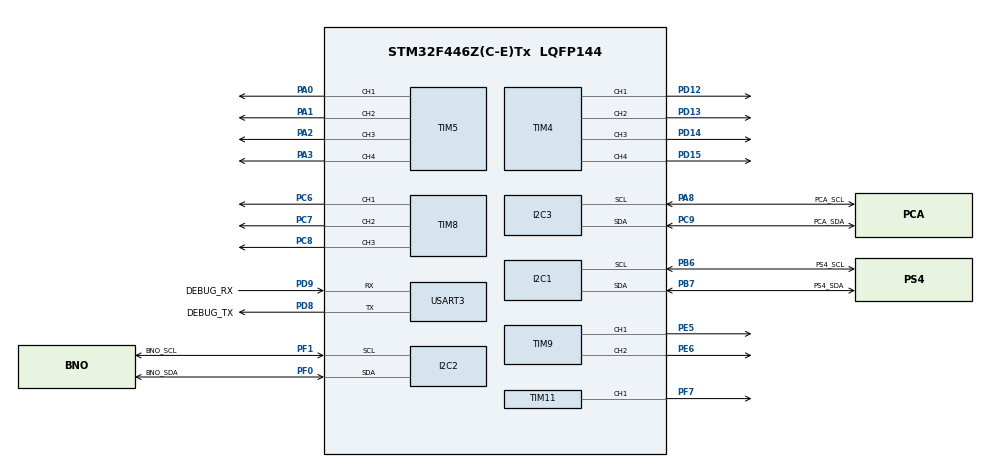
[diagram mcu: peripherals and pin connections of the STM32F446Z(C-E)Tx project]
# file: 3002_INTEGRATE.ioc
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Mcu.Family=STM32F4
Mcu.Name=STM32F446Z(C-E)Tx
Mcu.Package=LQFP144
NVIC.PriorityGroup=NVIC_PRIORITYGROUP_4
PA0-WKUP.Signal=S_TIM5_CH1
PA1.Signal=S_TIM5_CH2
PA2.Signal=S_TIM5_CH3
PA3.Signal=S_TIM5_CH4
PA8.GPIO_Label=PCA_SCL
PA8.Mode=I2C
PA8.Signal=I2C3_SCL
PB6.GPIO_Label=PS4_SCL
PB6.Mode=I2C
PB6.Signal=I2C1_SCL
PB7.GPIO_Label=PS4_SDA
PB7.Mode=I2C
PB7.Signal=I2C1_SDA
PC6.Signal=S_TIM8_CH1
PC7.Signal=S_TIM8_CH2
PC8.Signal=S_TIM8_CH3
PC9.GPIO_Label=PCA_SDA
PC9.Mode=I2C
PC9.Signal=I2C3_SDA
PD12.Signal=S_TIM4_CH1
PD13.Signal=S_TIM4_CH2
PD14.Signal=S_TIM4_CH3
PD15.Signal=S_TIM4_CH4
PD8.GPIO_Label=DEBUG_TX
PD8.Mode=Asynchronous
PD8.Signal=USART3_TX
PD9.GPIO_Label=DEBUG_RX
PD9.Mode=Asynchronous
PD9.Signal=USART3_RX
PE5.Signal=S_TIM9_CH1
PE6.Signal=S_TIM9_CH2
PF0.GPIO_Label=BNO_SDA
PF0.Mode=I2C
PF0.Signal=I2C2_SDA
PF1.GPIO_Label=BNO_SCL
PF1.Mode=I2C
PF1.Signal=I2C2_SCL
PF7.Signal=S_TIM11_CH1
ProjectManager.HeapSize=0x200
ProjectManager.StackSize=0x400
ProjectManager.TargetToolchain=STM32CubeIDE
RCC.48MHZClocksFreq_Value=24000000
RCC.AHBFreq_Value=16000000
RCC.APB1CLKDivider=RCC_HCLK_DIV2
RCC.APB1Freq_Value=8000000
RCC.APB1TimFreq_Value=16000000
RCC.APB2Freq_Value=16000000
RCC.APB2TimFreq_Value=16000000
RCC.CortexFreq_Value=16000000
RCC.HCLKFreq_Value=16000000
RCC.HSE_VALUE=8000000
RCC.HSI_VALUE=16000000
RCC.LSE_VALUE=32768
RCC.PLLMUL=RCC_PLL_MUL9
RCC.PRESCALERUSB=RCC_USBCLKSOURCE_PLL_DIV1_5
RCC.SYSCLKFreq_VALUE=16000000
RCC.SYSCLKSourceVirtual=RCC_SYSCLKSOURCE_PLLCLK
RCC.USBFreq_Value=96000000
RCC.VCOOutputFreq_Value=192000000
SH.S_TIM11_CH1.0=TIM11_CH1,PWM Generation1 CH1
SH.S_TIM4_CH1.0=TIM4_CH1,PWM Generation1 CH1
SH.S_TIM4_CH2.0=TIM4_CH2,PWM Generation2 CH2
SH.S_TIM4_CH3.0=TIM4_CH3,PWM Generation3 CH3
SH.S_TIM4_CH4.0=TIM4_CH4,PWM Generation4 CH4
SH.S_TIM5_CH1.0=TIM5_CH1,PWM Generation1 CH1
SH.S_TIM5_CH2.0=TIM5_CH2,PWM Generation2 CH2
SH.S_TIM5_CH3.0=TIM5_CH3,PWM Generation3 CH3
SH.S_TIM5_CH4.0=TIM5_CH4,PWM Generation4 CH4
SH.S_TIM8_CH1.0=TIM8_CH1,PWM Generation1 CH1
SH.S_TIM8_CH2.0=TIM8_CH2,PWM Generation2 CH2
SH.S_TIM8_CH3.0=TIM8_CH3,PWM Generation3 CH3
SH.S_TIM9_CH1.0=TIM9_CH1,PWM Generation1 CH1
SH.S_TIM9_CH2.0=TIM9_CH2,PWM Generation2 CH2
TIM11.Channel=TIM_CHANNEL_1
TIM4.Channel-PWM\ Generation1\ CH1=TIM_CHANNEL_1
TIM4.Channel-PWM\ Generation2\ CH2=TIM_CHANNEL_2
TIM4.Channel-PWM\ Generation3\ CH3=TIM_CHANNEL_3
TIM4.Channel-PWM\ Generation4\ CH4=TIM_CHANNEL_4
TIM5.Channel-PWM\ Generation1\ CH1=TIM_CHANNEL_1
TIM5.Channel-PWM\ Generation2\ CH2=TIM_CHANNEL_2
TIM5.Channel-PWM\ Generation3\ CH3=TIM_CHANNEL_3
TIM5.Channel-PWM\ Generation4\ CH4=TIM_CHANNEL_4
TIM8.Channel-PWM\ Generation1\ CH1=TIM_CHANNEL_1
TIM8.Channel-PWM\ Generation2\ CH2=TIM_CHANNEL_2
TIM8.Channel-PWM\ Generation3\ CH3=TIM_CHANNEL_3
TIM9.Channel-PWM\ Generation1\ CH1=TIM_CHANNEL_1
TIM9.Channel-PWM\ Generation2\ CH2=TIM_CHANNEL_2
USART3.VirtualMode=VM_ASYNC
VP_TIM11_VS_ClockSourceINT.Mode=Enable_Timer
VP_TIM4_VS_ClockSourceINT.Mode=Internal
VP_TIM5_VS_ClockSourceINT.Mode=Internal
VP_TIM8_VS_ClockSourceINT.Mode=Internal
VP_TIM9_VS_ClockSourceINT.Mode=Internal
board=NUCLEO-F446ZE

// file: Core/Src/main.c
	/* USER CODE BEGIN Header */
	/**
	  ******************************************************************************
	  * @file           : main.c
	  * @brief          : Main program body
	  ******************************************************************************
	  * @attention
	  *
	  * CopyRight (c) 2026 STMicroelectronics.
	  * All Rights reserved.
	  *
	  * This software is licensed under terms that can be found in the LICENSE file
	  * in the root directory of this software component.
	  * If no LICENSE file comes with this software, it is provided AS-IS.
	  *
	  ******************************************************************************
	  */
	/* USER CODE END Header */
	/* Includes ------------------------------------------------------------------*/
	#include "main.h"

	/* Private includes ----------------------------------------------------------*/
	/* USER CODE BEGIN Includes */
	#include<stdbool.h>
	#include<string.h>
	#include<stdio.h>
	#include<stdlib.h>

	#include "EncoderLib.h"
	#include "PCA9685.h"
	#include "BTS7960.h"
	#include "Cytron.h"

	/* USER CODE END Includes */

	/* Private typedef -----------------------------------------------------------*/

	/* Private define ------------------------------------------------------------*/
	/* USER CODE BEGIN PD */
	#define PCA_FREQ 	50

	/* USER CODE END PD */

	/* Private macro -------------------------------------------------------------*/
	/* USER CODE BEGIN PM */
	#define DATA_SIZE 7
	#define SLAVE_ADDR 8

	#define DEADZONE  20

	/* USER CODE END PM */

	/* Private variables ---------------------------------------------------------*/
	I2C_HandleTypeDef hi2c1;
	I2C_HandleTypeDef hi2c2;
	I2C_HandleTypeDef hi2c3;

	TIM_HandleTypeDef htim4;
	TIM_HandleTypeDef htim5;
	TIM_HandleTypeDef htim8;
	TIM_HandleTypeDef htim9;
	TIM_HandleTypeDef htim11;

	UART_HandleTypeDef huart3;

	/* USER CODE BEGIN PV */
	int8_t DATA[DATA_SIZE];
	char MSG[300];

	typedef struct{
		int LX;
		int LY;
		int RX;
		int RY;
		int Omega;

		bool Right;
		bool Down;
		bool Up;
		bool Left;
		bool Square;
		bool Cross;
		bool Circle;
		bool Triangle;

		bool PS;
		bool Touchpad;
		bool Options;
		bool Share;
		bool R3;
		bool L3;
		bool R1;
		bool L1;

	}PS4Data;
	PS4Data PS4 = { 0 };

	typedef struct{
		bool prevState;
		bool flag;
	}ToggleButton;

	ToggleButton KFSPlaceServo;
	ToggleButton KFSGripServo;

	ToggleButton StaffAttackServo;
	ToggleButton StaffGripServo;

	PCA_t PCA;

	typedef struct{
		TIM_HandleTypeDef *htim1;
		uint32_t LPWM;
		uint8_t bus1;

		TIM_HandleTypeDef *htim2;
		uint32_t RPWM;
		uint8_t bus2;

		uint16_t freq;
		uint8_t  maxPWM;

	} BTSMotor_t;

	typedef struct {
		TIM_HandleTypeDef *timer;
		GPIO_TypeDef *dirGPIO;

		uint32_t channel;
		uint16_t dirPIN;
		uint8_t direction;
		uint8_t  maxPWM;

	} CytronMotor_t;

	typedef struct {
		uint8_t PCA_Ch;
		uint8_t GripAngle;
		uint8_t ReleaseAngle;
	} GripServo_t;

	typedef struct {
		uint8_t PCA_Ch;
		uint8_t NormalAngle;
		uint8_t AttackAngle;
	} AttackServo_t;

	// ============================== KFS PLACING ==============================
	BTSMotor_t KFS_Place;
	AttackServo_t KFS_Flap;

	BTSMotor_t KFS_Place= {
		.htim1 		= &htim5,
		.LPWM 	= TIM_CHANNEL_2,
		.bus1 		= 2,

		.htim2 		= &htim5,
		.RPWM 	= TIM_CHANNEL_3,
		.bus2 		= 2,

		.freq = 1000
	};

	AttackServo_t KFS_Flap = {
		.PCA_Ch 		= 12,
		.NormalAngle 	= 0,
		.AttackAngle 	= 180
	};

	// ============================== KFS PICKING ==============================
	CytronMotor_t KFS_Belt;
	CytronMotor_t KFS_Turret;
	GripServo_t KFS_Grip[2];

	CytronMotor_t KFS_Belt = {
			.timer 		= &htim9,
			.dirGPIO	= GPIOB,
			.channel 	= TIM_CHANNEL_2,
			.dirPIN 	= GPIO_PIN_15,
			.direction  = 0,
			.maxPWM 	= 60
	};

	CytronMotor_t KFS_Turret = {
			.timer 		= &htim11,
			.dirGPIO	= GPIOA,
			.channel 	= TIM_CHANNEL_1,
			.dirPIN 	= GPIO_PIN_2,
			.direction  = 0,
			.maxPWM 	= 60
	};

	GripServo_t KFS_Grip[2] = {
		{.PCA_Ch = 8, .GripAngle = 60, .ReleaseAngle = 160},
		{.PCA_Ch = 9, .GripAngle = 160, .ReleaseAngle = 60}
	};

	// ============================== STAFF PICKING ==============================
	CytronMotor_t STAFF_Motor;
	GripServo_t STAFF_Grip[4];
	AttackServo_t STAFF_Attack[4];

	CytronMotor_t STAFF_Motor = {
			.timer 		= &htim8,
			.dirGPIO	= GPIOA,
			.channel 	= TIM_CHANNEL_3,
			.dirPIN 	= GPIO_PIN_3,
			.direction  = 0,
			.maxPWM 	= 40

	};

	GripServo_t STAFF_Grip[4] = {
		{ .PCA_Ch = 0, .GripAngle = 180, .ReleaseAngle = 0 },
		{ .PCA_Ch = 1, .GripAngle = 110, .ReleaseAngle = 50 },
		{ .PCA_Ch = 3, .GripAngle = 180, .ReleaseAngle = 0 },
		{ .PCA_Ch = 4, .GripAngle = 180, .ReleaseAngle = 0 }
	};

	AttackServo_t STAFF_Attack[4] = {
		{ .PCA_Ch = 4, .NormalAngle = 0,   .AttackAngle = 45 },
		{ .PCA_Ch = 5, .NormalAngle = 110, .AttackAngle = 63 },
		{ .PCA_Ch = 6, .NormalAngle = 15,  .AttackAngle = 58 },
		{ .PCA_Ch = 7, .NormalAngle = 67,  .AttackAngle = 110 }
	};

	/* USER CODE END PV */

	/* Private function prototypes -----------------------------------------------*/
	void SystemClock_Config(void);
	static void MX_GPIO_Init(void);
	static void MX_I2C1_Init(void);
	static void MX_USART3_UART_Init(void);
	static void MX_I2C2_Init(void);
	static void MX_I2C3_Init(void);
	static void MX_TIM4_Init(void);
	static void MX_TIM5_Init(void);
	static void MX_TIM8_Init(void);
	static void MX_TIM9_Init(void);
	static void MX_TIM11_Init(void);
	/* USER CODE BEGIN PFP */
	// ============================== UTILITY ==============================
	void getValue();

	/* USER CODE END PFP */

	/* Private user code ---------------------------------------------------------*/
	/* USER CODE BEGIN 0 */
	void getValue(){
		if (HAL_OK == HAL_I2C_Master_Receive(&hi2c1, SLAVE_ADDR << 1, (uint8_t*)DATA, DATA_SIZE, HAL_MAX_DELAY)){
			PS4.Up       = (DATA[0] & (1 << 0)) ? 1 : 0;
			PS4.Right    = (DATA[0] & (1 << 1)) ? 1 : 0;
			PS4.Down     = (DATA[0] & (1 << 2)) ? 1 : 0;
			PS4.Left     = (DATA[0] & (1 << 3)) ? 1 : 0;
			PS4.Triangle = (DATA[0] & (1 << 4)) ? 1 : 0;
			PS4.Circle   = (DATA[0] & (1 << 5)) ? 1 : 0;
			PS4.Cross    = (DATA[0] & (1 << 6)) ? 1 : 0;
			PS4.Square   = (DATA[0] & (1 << 7)) ? 1 : 0;

			PS4.L1       = (DATA[1] & (1 << 0)) ? 1 : 0;
			PS4.R1       = (DATA[1] & (1 << 1)) ? 1 : 0;
			PS4.L3       = (DATA[1] & (1 << 2)) ? 1 : 0;
			PS4.R3       = (DATA[1] & (1 << 3)) ? 1 : 0;
			PS4.Share    = (DATA[1] & (1 << 4)) ? 1 : 0;
			PS4.Options  = (DATA[1] & (1 << 5)) ? 1 : 0;
			PS4.Touchpad = (DATA[1] & (1 << 6)) ? 1 : 0;
			PS4.PS       = (DATA[1] & (1 << 7)) ? 1 : 0;

			PS4.Omega = DATA[6];
			PS4.RY    = DATA[5];
			PS4.RX    = DATA[4];
			PS4.LX    = DATA[2];
			PS4.LY    = DATA[3];

			if (abs(PS4.LX) < DEADZONE) PS4.LX = 0;
			if (abs(PS4.LY) < DEADZONE) PS4.LY = 0;
			if (abs(PS4.Omega) < DEADZONE) PS4.Omega = 0;

			/* -------- DEBUG PRINT -------- */
			sprintf(MSG,
					" SQ%d X %d  O %d  TRI %d  LEFT %d  DOWN %d  RIGHT %d  UP %d  PS %d  TOUCH %d  OPT %d  SHARE %d  R3 %d  L3 %d  R1 %d  L1 %d LX %d  LY %d  RX %d  RY %d  OMEGA%d \r\n",
					PS4.Square, PS4.Cross, PS4.Circle, PS4.Triangle,
					PS4.Left, PS4.Down, PS4.Right, PS4.Up,
					PS4.PS, PS4.Touchpad, PS4.Options, PS4.Share,
					PS4.R3, PS4.L3, PS4.R1, PS4.L1,
					PS4.LX, PS4.LY, PS4.RX, PS4.RY, PS4.Omega);

			HAL_UART_Transmit(&huart3, (uint8_t*)MSG, strlen(MSG), HAL_MAX_DELAY);
		}
	}

	void InitMechanisms(){
		InitBTS(KFS_Place, KFS_Place.htim1, KFS_Place.LPWM, KFS_Place.bus1, KFS_Place.htim2, KFS_Place.RPWM, KFS_Place.bus2, KFS_Place.freq);

		InitCytron(STAFF_Motor, STAFF_Motor.timer, STAFF_Motor.channel, STAFF_Motor.dirGPIO, STAFF_Motor.dirPIN, STAFF_Motor.direction);
		InitCytron(KFS_Turret, KFS_Turret.timer, KFS_Turret.channel, KFS_Turret.dirGPIO, KFS_Turret.dirPIN, KFS_Turret.direction);
		InitCytron(KFS_Belt, KFS_Belt.timer, KFS_Belt.channel, KFS_Belt.dirGPIO, KFS_Belt.dirPIN, KFS_Belt.direction);

		InitPCA(&PCA, &hi2c2, PCA_FREQ);
	}

	//============================== KFS PLACING ==============================
	void KFS_Place_Motor(){
		if(PS4.L1){
			RotateMotor(KFS_Place,  KFS_Place.maxPWM);
		}
		else if(PS4.R1){
			RotateMotor(KFS_Place, -KFS_Place.maxPWM);
		}
		else{
			StopMotor(KFS_Place);
		}
	}

	void KFS_Place_Servo(){
		if(PS4.Cross && !KFSPlaceServo.prevState){
			KFSPlaceServo.prevState = true;
			KFSPlaceServo.flag = !KFSPlaceServo.flag;

			if(KFSPlaceServo.flag){
				RotateServo(&PCA, KFS_Flap.PCA_Ch, KFS_Flap.NormalAngle);
			}
			else{
				RotateServo(&PCA, KFS_Flap.PCA_Ch, KFS_Flap.AttackAngle);
			}
		}
		else if(!PS4.Cross){
			KFSPlaceServo.prevState = false;
		}

	}

	void KFS_Place_Motion(){
		KFS_Place_Motor();
		KFS_Place_Servo();
	}

	//============================== KFS PICKING ==============================
	void KFS_Pick_Motor(){
		// BELT-MOTOR
		if(PS4.Up){
			RotateCytron(KFS_Belt,  KFS_Belt.maxPWM);
		}
		else if(PS4.Down){
			RotateCytron(KFS_Belt, -KFS_Belt.maxPWM);
		}
		else{
			StopCytron(KFS_Belt);
		}

		// TURRET_MOTOR
		if(PS4.Up){
			RotateCytron(KFS_Turret,  KFS_Turret.maxPWM);
		}
		else if(PS4.Down){
			RotateCytron(KFS_Turret, -KFS_Turret.maxPWM);
		}
		else{
			StopCytron(KFS_Turret);
		}

	}

	void KFS_Pick_Servo(){
		if(PS4.Circle && !KFSGripServo.prevState){
			KFSGripServo.prevState = true;
			KFSGripServo.flag 		= !KFSGripServo.flag;

				if(KFSGripServo.flag){
					RotateServo(&PCA, KFS_Grip[1].PCA_Ch, KFS_Grip[1].GripAngle);
					RotateServo(&PCA, KFS_Grip[2].PCA_Ch, KFS_Grip[2].GripAngle);
				}
				else{
					RotateServo(&PCA, KFS_Grip[1].PCA_Ch, KFS_Grip[1].ReleaseAngle);
					RotateServo(&PCA, KFS_Grip[2].PCA_Ch, KFS_Grip[2].ReleaseAngle);
				}
			}
			else if (!PS4.Circle){
				KFSGripServo.prevState = false;
			}
	}

	void KFS_Pick_Motion(){
		KFS_Pick_Motor();
		KFS_Pick_Servo();
	}

	//============================== KFS PICKING ==============================
	void STAFF_Motor(){
		if(PS4.RY){
			int16_t beltSpeed = (int16_t)constrain(PS4.RY, -MAX_STAFF_PWM, MAX_STAFF_PWM);
			RotateCytron(&STAFF_MOTOR, beltSpeed);
		}
		else{
			StopCytron(STAFF_Motor);
		}
	}

	void STAFF_Servo(){
		// GRIP SERVO
		if(PS4.Square && !StaffGripServo.prevState){
			StaffGripServo.prevState = true;
			StaffGripServo.flag 		= !StaffGripServo.flag;

			if(StaffGripServo.flag){
				RotateServo(&PCA, STAFF_Grip[1].PCA_Ch, STAFF_Grip[1].GripAngle);
				RotateServo(&PCA, STAFF_Grip[2].PCA_Ch, STAFF_Grip[2].GripAngle);
				RotateServo(&PCA, STAFF_Grip[3].PCA_Ch, STAFF_Grip[3].GripAngle);
				RotateServo(&PCA, STAFF_Grip[4].PCA_Ch, STAFF_Grip[4].GripAngle);
			}
			else{
				RotateServo(&PCA, STAFF_Grip[1].PCA_Ch, STAFF_Grip[1].ReleaseAngle);
				RotateServo(&PCA, STAFF_Grip[2].PCA_Ch, STAFF_Grip[2].ReleaseAngle);
				RotateServo(&PCA, STAFF_Grip[3].PCA_Ch, STAFF_Grip[3].ReleaseAngle);
				RotateServo(&PCA, STAFF_Grip[4].PCA_Ch, STAFF_Grip[4].ReleaseAngle);
			}
		}
		else if (!PS4.Square){
			StaffGripServo.prevState = false;
		}

		// ATTACK SERVO
		if(PS4.Triangle && !AttackServo.prevState){
			AttackServo.prevState = true;
			AttackServo.flag 	  = !AttackServo.flag;

			if(AttackServo.flag){
				RotateServo(&PCA, STAFF_Attack[1].PCA_Ch, STAFF_Attack[1].NormalAngle);
				RotateServo(&PCA, STAFF_Attack[2].PCA_Ch, STAFF_Attack[2].NormalAngle);
				RotateServo(&PCA, STAFF_Attack[3].PCA_Ch, STAFF_Attack[3].NormalAngle);
				RotateServo(&PCA, STAFF_Attack[4].PCA_Ch, STAFF_Attack[4].NormalAngle);
			}
			else{
			}
		}
		else if(!PS4.Triangle){
			RotateServo(&PCA, STAFF_Attack[1].PCA_Ch, STAFF_Attack[1].AttackAngle);
			RotateServo(&PCA, STAFF_Attack[2].PCA_Ch, STAFF_Attack[2].AttackAngle);
			RotateServo(&PCA, STAFF_Attack[3].PCA_Ch, STAFF_Attack[3].AttackAngle);
			RotateServo(&PCA, STAFF_Attack[4].PCA_Ch, STAFF_Attack[4].AttackAngle);
		}
	}

	void STAFF_Motion(){
		STAFF_Motion();
		STAFF_Servo();
	}

	/* USER CODE END 0 */

	/**
	  * @brief  The application entry point.
	  * @retval int
	  */
	int main(void)
	{

	  /* MCU Configuration--------------------------------------------------------*/

	  /* Reset of all peripherals, Initializes the Flash interface and the Systick. */
	  HAL_Init();

	  /* Configure the system clock */
	  SystemClock_Config();

	  /* Initialize all configured peripherals */
	  MX_GPIO_Init();
	  MX_I2C1_Init();
	  MX_USART3_UART_Init();
	  MX_I2C2_Init();
	  MX_I2C3_Init();
	  MX_TIM4_Init();
	  MX_TIM5_Init();
	  MX_TIM8_Init();
	  MX_TIM9_Init();
	  MX_TIM11_Init();
	  /* USER CODE BEGIN 2 */

	  InitMechanisms();

	  /* USER CODE END 2 */

	  /* Infinite loop */
	  while (1)
	  {

		/* USER CODE BEGIN 3 */

		  getValue();
		  KFS_Place_Motion();
		  KFS_Pick_Motion();
		  STAFF_Motion();

	  }
	  /* USER CODE END 3 */
	}

	/**
	  * @brief System Clock Configuration
	  * @retval None
	  */
	void SystemClock_Config(void)
	{
	  RCC_OscInitTypeDef RCC_OscInitStruct = {0};
	  RCC_ClkInitTypeDef RCC_ClkInitStruct = {0};

	  /** Configure the main internal regulator output voltage
	  */
	  __HAL_RCC_PWR_CLK_ENABLE();
	  __HAL_PWR_VOLTAGESCALING_CONFIG(PWR_REGULATOR_VOLTAGE_SCALE3);

	  /** Initializes the RCC Oscillators according to the specified parameters
	  * in the RCC_OscInitTypeDef structure.
	  */
	  RCC_OscInitStruct.OscillatorType = RCC_OSCILLATORTYPE_HSI;
	  RCC_OscInitStruct.HSIState = RCC_HSI_ON;
	  RCC_OscInitStruct.HSICalibrationValue = RCC_HSICALIBRATION_DEFAULT;
	  RCC_OscInitStruct.PLL.PLLState = RCC_PLL_NONE;
	  if (HAL_RCC_OscConfig(&RCC_OscInitStruct) != HAL_OK)
	  {
		Error_Handler();
	  }

	  /** Initializes the CPU, AHB and APB buses clocks
	  */
	  RCC_ClkInitStruct.ClockType = RCC_CLOCKTYPE_HCLK|RCC_CLOCKTYPE_SYSCLK
								  |RCC_CLOCKTYPE_PCLK1|RCC_CLOCKTYPE_PCLK2;
	  RCC_ClkInitStruct.SYSCLKSource = RCC_SYSCLKSOURCE_HSI;
	  RCC_ClkInitStruct.AHBCLKDivider = RCC_SYSCLK_DIV1;
	  RCC_ClkInitStruct.APB1CLKDivider = RCC_HCLK_DIV2;
	  RCC_ClkInitStruct.APB2CLKDivider = RCC_HCLK_DIV1;

	  if (HAL_RCC_ClockConfig(&RCC_ClkInitStruct, FLASH_LATENCY_0) != HAL_OK)
	  {
		Error_Handler();
	  }
	}

	/**
	  * @brief I2C1 Initialization Function
	  * @param None
	  * @retval None
	  */
	static void MX_I2C1_Init(void)
	{

	  hi2c1.Instance = I2C1;
	  hi2c1.Init.ClockSpeed = 100000;
	  hi2c1.Init.DutyCycle = I2C_DUTYCYCLE_2;
	  hi2c1.Init.OwnAddress1 = 0;
	  hi2c1.Init.AddressingMode = I2C_ADDRESSINGMODE_7BIT;
	  hi2c1.Init.DualAddressMode = I2C_DUALADDRESS_DISABLE;
	  hi2c1.Init.OwnAddress2 = 0;
	  hi2c1.Init.GeneralCallMode = I2C_GENERALCALL_DISABLE;
	  hi2c1.Init.NoStretchMode = I2C_NOSTRETCH_DISABLE;
	  if (HAL_I2C_Init(&hi2c1) != HAL_OK)
	  {
		Error_Handler();
	  }

	}

	/**
	  * @brief I2C2 Initialization Function
	  * @param None
	  * @retval None
	  */
	static void MX_I2C2_Init(void)
	{

	  hi2c2.Instance = I2C2;
	  hi2c2.Init.ClockSpeed = 100000;
	  hi2c2.Init.DutyCycle = I2C_DUTYCYCLE_2;
	  hi2c2.Init.OwnAddress1 = 0;
	  hi2c2.Init.AddressingMode = I2C_ADDRESSINGMODE_7BIT;
	  hi2c2.Init.DualAddressMode = I2C_DUALADDRESS_DISABLE;
	  hi2c2.Init.OwnAddress2 = 0;
	  hi2c2.Init.GeneralCallMode = I2C_GENERALCALL_DISABLE;
	  hi2c2.Init.NoStretchMode = I2C_NOSTRETCH_DISABLE;
	  if (HAL_I2C_Init(&hi2c2) != HAL_OK)
	  {
		Error_Handler();
	  }

	}

	/**
	  * @brief I2C3 Initialization Function
	  * @param None
	  * @retval None
	  */
	static void MX_I2C3_Init(void)
	{

	  hi2c3.Instance = I2C3;
	  hi2c3.Init.ClockSpeed = 100000;
	  hi2c3.Init.DutyCycle = I2C_DUTYCYCLE_2;
	  hi2c3.Init.OwnAddress1 = 0;
	  hi2c3.Init.AddressingMode = I2C_ADDRESSINGMODE_7BIT;
	  hi2c3.Init.DualAddressMode = I2C_DUALADDRESS_DISABLE;
	  hi2c3.Init.OwnAddress2 = 0;
	  hi2c3.Init.GeneralCallMode = I2C_GENERALCALL_DISABLE;
	  hi2c3.Init.NoStretchMode = I2C_NOSTRETCH_DISABLE;
	  if (HAL_I2C_Init(&hi2c3) != HAL_OK)
	  {
		Error_Handler();
	  }

	}

	/**
	  * @brief TIM4 Initialization Function
	  * @param None
	  * @retval None
	  */
	static void MX_TIM4_Init(void)
	{

	  TIM_ClockConfigTypeDef sClockSourceConfig = {0};
	  TIM_MasterConfigTypeDef sMasterConfig = {0};
	  TIM_OC_InitTypeDef sConfigOC = {0};

	  htim4.Instance = TIM4;
	  htim4.Init.Prescaler = 0;
	  htim4.Init.CounterMode = TIM_COUNTERMODE_UP;
	  htim4.Init.Period = 65535;
	  htim4.Init.ClockDivision = TIM_CLOCKDIVISION_DIV1;
	  htim4.Init.AutoReloadPreload = TIM_AUTORELOAD_PRELOAD_DISABLE;
	  if (HAL_TIM_Base_Init(&htim4) != HAL_OK)
	  {
		Error_Handler();
	  }
	  sClockSourceConfig.ClockSource = TIM_CLOCKSOURCE_INTERNAL;
	  if (HAL_TIM_ConfigClockSource(&htim4, &sClockSourceConfig) != HAL_OK)
	  {
		Error_Handler();
	  }
	  if (HAL_TIM_PWM_Init(&htim4) != HAL_OK)
	  {
		Error_Handler();
	  }
	  sMasterConfig.MasterOutputTrigger = TIM_TRGO_RESET;
	  sMasterConfig.MasterSlaveMode = TIM_MASTERSLAVEMODE_DISABLE;
	  if (HAL_TIMEx_MasterConfigSynchronization(&htim4, &sMasterConfig) != HAL_OK)
	  {
		Error_Handler();
	  }
	  sConfigOC.OCMode = TIM_OCMODE_PWM1;
	  sConfigOC.Pulse = 0;
	  sConfigOC.OCPolarity = TIM_OCPOLARITY_HIGH;
	  sConfigOC.OCFastMode = TIM_OCFAST_DISABLE;
	  if (HAL_TIM_PWM_ConfigChannel(&htim4, &sConfigOC, TIM_CHANNEL_1) != HAL_OK)
	  {
		Error_Handler();
	  }
	  if (HAL_TIM_PWM_ConfigChannel(&htim4, &sConfigOC, TIM_CHANNEL_2) != HAL_OK)
	  {
		Error_Handler();
	  }
	  if (HAL_TIM_PWM_ConfigChannel(&htim4, &sConfigOC, TIM_CHANNEL_3) != HAL_OK)
	  {
		Error_Handler();
	  }
	  if (HAL_TIM_PWM_ConfigChannel(&htim4, &sConfigOC, TIM_CHANNEL_4) != HAL_OK)
	  {
		Error_Handler();
	  }
	  HAL_TIM_MspPostInit(&htim4);

	}

	/**
	  * @brief TIM5 Initialization Function
	  * @param None
	  * @retval None
	  */
	static void MX_TIM5_Init(void)
	{

	  TIM_ClockConfigTypeDef sClockSourceConfig = {0};
	  TIM_MasterConfigTypeDef sMasterConfig = {0};
	  TIM_OC_InitTypeDef sConfigOC = {0};

	  htim5.Instance = TIM5;
	  htim5.Init.Prescaler = 0;
	  htim5.Init.CounterMode = TIM_COUNTERMODE_UP;
	  htim5.Init.Period = 4294967295;
	  htim5.Init.ClockDivision = TIM_CLOCKDIVISION_DIV1;
	  htim5.Init.AutoReloadPreload = TIM_AUTORELOAD_PRELOAD_DISABLE;
	  if (HAL_TIM_Base_Init(&htim5) != HAL_OK)
	  {
		Error_Handler();
	  }
	  sClockSourceConfig.ClockSource = TIM_CLOCKSOURCE_INTERNAL;
	  if (HAL_TIM_ConfigClockSource(&htim5, &sClockSourceConfig) != HAL_OK)
	  {
		Error_Handler();
	  }
	  if (HAL_TIM_PWM_Init(&htim5) != HAL_OK)
	  {
		Error_Handler();
	  }
	  sMasterConfig.MasterOutputTrigger = TIM_TRGO_RESET;
	  sMasterConfig.MasterSlaveMode = TIM_MASTERSLAVEMODE_DISABLE;
	  if (HAL_TIMEx_MasterConfigSynchronization(&htim5, &sMasterConfig) != HAL_OK)
	  {
		Error_Handler();
	  }
	  sConfigOC.OCMode = TIM_OCMODE_PWM1;
	  sConfigOC.Pulse = 0;
	  sConfigOC.OCPolarity = TIM_OCPOLARITY_HIGH;
	  sConfigOC.OCFastMode = TIM_OCFAST_DISABLE;
	  if (HAL_TIM_PWM_ConfigChannel(&htim5, &sConfigOC, TIM_CHANNEL_1) != HAL_OK)
	  {
		Error_Handler();
	  }
	  if (HAL_TIM_PWM_ConfigChannel(&htim5, &sConfigOC, TIM_CHANNEL_2) != HAL_OK)
	  {
		Error_Handler();
	  }
	  if (HAL_TIM_PWM_ConfigChannel(&htim5, &sConfigOC, TIM_CHANNEL_3) != HAL_OK)
	  {
		Error_Handler();
	  }
	  if (HAL_TIM_PWM_ConfigChannel(&htim5, &sConfigOC, TIM_CHANNEL_4) != HAL_OK)
	  {
		Error_Handler();
	  }
	  HAL_TIM_MspPostInit(&htim5);

	}

	/**
	  * @brief TIM8 Initialization Function
	  * @param None
	  * @retval None
	  */
	static void MX_TIM8_Init(void)
	{

	  TIM_ClockConfigTypeDef sClockSourceConfig = {0};
	  TIM_MasterConfigTypeDef sMasterConfig = {0};
	  TIM_OC_InitTypeDef sConfigOC = {0};
	  TIM_BreakDeadTimeConfigTypeDef sBreakDeadTimeConfig = {0};

	  htim8.Instance = TIM8;
	  htim8.Init.Prescaler = 0;
	  htim8.Init.CounterMode = TIM_COUNTERMODE_UP;
	  htim8.Init.Period = 65535;
	  htim8.Init.ClockDivision = TIM_CLOCKDIVISION_DIV1;
	  htim8.Init.RepetitionCounter = 0;
	  htim8.Init.AutoReloadPreload = TIM_AUTORELOAD_PRELOAD_DISABLE;
	  if (HAL_TIM_Base_Init(&htim8) != HAL_OK)
	  {
		Error_Handler();
	  }
	  sClockSourceConfig.ClockSource = TIM_CLOCKSOURCE_INTERNAL;
	  if (HAL_TIM_ConfigClockSource(&htim8, &sClockSourceConfig) != HAL_OK)
	  {
		Error_Handler();
	  }
	  if (HAL_TIM_PWM_Init(&htim8) != HAL_OK)
	  {
		Error_Handler();
	  }
	  sMasterConfig.MasterOutputTrigger = TIM_TRGO_RESET;
	  sMasterConfig.MasterSlaveMode = TIM_MASTERSLAVEMODE_DISABLE;
	  if (HAL_TIMEx_MasterConfigSynchronization(&htim8, &sMasterConfig) != HAL_OK)
	  {
		Error_Handler();
	  }
	  sConfigOC.OCMode = TIM_OCMODE_PWM1;
	  sConfigOC.Pulse = 0;
	  sConfigOC.OCPolarity = TIM_OCPOLARITY_HIGH;
	  sConfigOC.OCNPolarity = TIM_OCNPOLARITY_HIGH;
	  sConfigOC.OCFastMode = TIM_OCFAST_DISABLE;
	  sConfigOC.OCIdleState = TIM_OCIDLESTATE_RESET;
	  sConfigOC.OCNIdleState = TIM_OCNIDLESTATE_RESET;
	  if (HAL_TIM_PWM_ConfigChannel(&htim8, &sConfigOC, TIM_CHANNEL_1) != HAL_OK)
	  {
		Error_Handler();
	  }
	  if (HAL_TIM_PWM_ConfigChannel(&htim8, &sConfigOC, TIM_CHANNEL_2) != HAL_OK)
	  {
		Error_Handler();
	  }
	  if (HAL_TIM_PWM_ConfigChannel(&htim8, &sConfigOC, TIM_CHANNEL_3) != HAL_OK)
	  {
		Error_Handler();
	  }
	  sBreakDeadTimeConfig.OffStateRunMode = TIM_OSSR_DISABLE;
	  sBreakDeadTimeConfig.OffStateIDLEMode = TIM_OSSI_DISABLE;
	  sBreakDeadTimeConfig.LockLevel = TIM_LOCKLEVEL_OFF;
	  sBreakDeadTimeConfig.DeadTime = 0;
	  sBreakDeadTimeConfig.BreakState = TIM_BREAK_DISABLE;
	  sBreakDeadTimeConfig.BreakPolarity = TIM_BREAKPOLARITY_HIGH;
	  sBreakDeadTimeConfig.AutomaticOutput = TIM_AUTOMATICOUTPUT_DISABLE;
	  if (HAL_TIMEx_ConfigBreakDeadTime(&htim8, &sBreakDeadTimeConfig) != HAL_OK)
	  {
		Error_Handler();
	  }
	  HAL_TIM_MspPostInit(&htim8);

	}

	/**
	  * @brief TIM9 Initialization Function
	  * @param None
	  * @retval None
	  */
	static void MX_TIM9_Init(void)
	{

	  TIM_ClockConfigTypeDef sClockSourceConfig = {0};
	  TIM_OC_InitTypeDef sConfigOC = {0};

	  htim9.Instance = TIM9;
	  htim9.Init.Prescaler = 0;
	  htim9.Init.CounterMode = TIM_COUNTERMODE_UP;
	  htim9.Init.Period = 65535;
	  htim9.Init.ClockDivision = TIM_CLOCKDIVISION_DIV1;
	  htim9.Init.AutoReloadPreload = TIM_AUTORELOAD_PRELOAD_DISABLE;
	  if (HAL_TIM_Base_Init(&htim9) != HAL_OK)
	  {
		Error_Handler();
	  }
	  sClockSourceConfig.ClockSource = TIM_CLOCKSOURCE_INTERNAL;
	  if (HAL_TIM_ConfigClockSource(&htim9, &sClockSourceConfig) != HAL_OK)
	  {
		Error_Handler();
	  }
	  if (HAL_TIM_PWM_Init(&htim9) != HAL_OK)
	  {
		Error_Handler();
	  }
	  sConfigOC.OCMode = TIM_OCMODE_PWM1;
	  sConfigOC.Pulse = 0;
	  sConfigOC.OCPolarity = TIM_OCPOLARITY_HIGH;
	  sConfigOC.OCFastMode = TIM_OCFAST_DISABLE;
	  if (HAL_TIM_PWM_ConfigChannel(&htim9, &sConfigOC, TIM_CHANNEL_1) != HAL_OK)
	  {
		Error_Handler();
	  }
	  if (HAL_TIM_PWM_ConfigChannel(&htim9, &sConfigOC, TIM_CHANNEL_2) != HAL_OK)
	  {
		Error_Handler();
	  }
	  HAL_TIM_MspPostInit(&htim9);

	}

	/**
	  * @brief TIM11 Initialization Function
	  * @param None
	  * @retval None
	  */
	static void MX_TIM11_Init(void)
	{

	  TIM_OC_InitTypeDef sConfigOC = {0};

	  htim11.Instance = TIM11;
	  htim11.Init.Prescaler = 0;
	  htim11.Init.CounterMode = TIM_COUNTERMODE_UP;
	  htim11.Init.Period = 65535;
	  htim11.Init.ClockDivision = TIM_CLOCKDIVISION_DIV1;
	  htim11.Init.AutoReloadPreload = TIM_AUTORELOAD_PRELOAD_DISABLE;
	  if (HAL_TIM_Base_Init(&htim11) != HAL_OK)
	  {
		Error_Handler();
	  }
	  if (HAL_TIM_PWM_Init(&htim11) != HAL_OK)
	  {
		Error_Handler();
	  }
	  sConfigOC.OCMode = TIM_OCMODE_PWM1;
	  sConfigOC.Pulse = 0;
	  sConfigOC.OCPolarity = TIM_OCPOLARITY_HIGH;
	  sConfigOC.OCFastMode = TIM_OCFAST_DISABLE;
	  if (HAL_TIM_PWM_ConfigChannel(&htim11, &sConfigOC, TIM_CHANNEL_1) != HAL_OK)
	  {
		Error_Handler();
	  }
	  HAL_TIM_MspPostInit(&htim11);

	}

	/**
	  * @brief USART3 Initialization Function
	  * @param None
	  * @retval None
	  */
	static void MX_USART3_UART_Init(void)
	{

	  huart3.Instance = USART3;
	  huart3.Init.BaudRate = 115200;
	  huart3.Init.WordLength = UART_WORDLENGTH_8B;
	  huart3.Init.StopBits = UART_STOPBITS_1;
	  huart3.Init.Parity = UART_PARITY_NONE;
	  huart3.Init.Mode = UART_MODE_TX_RX;
	  huart3.Init.HwFlowCtl = UART_HWCONTROL_NONE;
	  huart3.Init.OverSampling = UART_OVERSAMPLING_16;
	  if (HAL_UART_Init(&huart3) != HAL_OK)
	  {
		Error_Handler();
	  }

	}

	/**
	  * @brief GPIO Initialization Function
	  * @param None
	  * @retval None
	  */
	static void MX_GPIO_Init(void)
	{

	  /* GPIO Ports Clock Enable */
	  __HAL_RCC_GPIOE_CLK_ENABLE();
	  __HAL_RCC_GPIOF_CLK_ENABLE();
	  __HAL_RCC_GPIOA_CLK_ENABLE();
	  __HAL_RCC_GPIOD_CLK_ENABLE();
	  __HAL_RCC_GPIOC_CLK_ENABLE();
	  __HAL_RCC_GPIOB_CLK_ENABLE();

	}

	/**
	  * @brief  This function is executed in case of error occurrence.
	  * @retval None
	  */
	void Error_Handler(void)
	{
	  __disable_irq();
	  while (1)
	  {
	  }
	}
	#ifdef USE_FULL_ASSERT
	/**
	  * @brief  Reports the name of the source file and the source line number
	  *         where the assert_param error has occurred.
	  * @param  file: pointer to the source file name
	  * @param  line: assert_param error line source number
	  * @retval None
	  */
	void assert_failed(uint8_t *file, uint32_t line)
	{
	}
	#endif /* USE_FULL_ASSERT */
